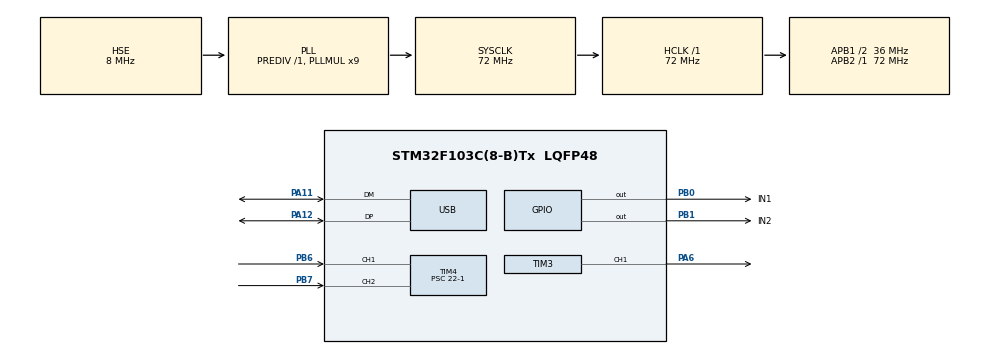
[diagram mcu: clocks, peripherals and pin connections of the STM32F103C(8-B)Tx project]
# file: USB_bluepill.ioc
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Mcu.Family=STM32F1
Mcu.Name=STM32F103C(8-B)Tx
Mcu.Package=LQFP48
NVIC.PriorityGroup=NVIC_PRIORITYGROUP_4
NVIC.TIM1_UP_IRQn=true\:0\:0\:false\:false\:true\:true\:true\:true
NVIC.TIM3_IRQn=true\:0\:0\:false\:false\:true\:true\:true\:true
NVIC.TIM4_IRQn=true\:0\:0\:false\:false\:true\:true\:true\:true
NVIC.USB_LP_CAN1_RX0_IRQn=true\:0\:0\:false\:false\:true\:false\:true\:true
PA11.Mode=Device
PA11.Signal=USB_DM
PA12.Mode=Device
PA12.Signal=USB_DP
PA13.Mode=Serial_Wire
PA13.Signal=SYS_JTMS-SWDIO
PA14.Mode=Serial_Wire
PA14.Signal=SYS_JTCK-SWCLK
PA6.Signal=S_TIM3_CH1
PB0.GPIO_Label=IN1
PB0.Signal=GPIO_Output
PB1.GPIO_Label=IN2
PB1.Signal=GPIO_Output
PB6.Signal=S_TIM4_CH1
PB7.Signal=S_TIM4_CH2
PD0-OSC_IN.Mode=HSE-External-Oscillator
PD0-OSC_IN.Signal=RCC_OSC_IN
PD1-OSC_OUT.Mode=HSE-External-Oscillator
PD1-OSC_OUT.Signal=RCC_OSC_OUT
ProjectManager.HeapSize=0x200
ProjectManager.StackSize=0x400
ProjectManager.TargetToolchain=STM32CubeIDE
RCC.ADCPresc=RCC_ADCPCLK2_DIV6
RCC.AHBFreq_Value=72000000
RCC.APB1CLKDivider=RCC_HCLK_DIV2
RCC.APB1Freq_Value=36000000
RCC.APB1TimFreq_Value=72000000
RCC.APB2Freq_Value=72000000
RCC.APB2TimFreq_Value=72000000
RCC.HCLKFreq_Value=72000000
RCC.PLLMUL=RCC_PLL_MUL9
RCC.PLLSourceVirtual=RCC_PLLSOURCE_HSE
RCC.SYSCLKFreq_VALUE=72000000
RCC.SYSCLKSource=RCC_SYSCLKSOURCE_PLLCLK
RCC.USBFreq_Value=48000000
RCC.USBPrescaler=RCC_USBCLKSOURCE_PLL_DIV1_5
SH.S_TIM3_CH1.0=TIM3_CH1,PWM Generation1 CH1
SH.S_TIM4_CH1.0=TIM4_CH1,Encoder_Interface
SH.S_TIM4_CH2.0=TIM4_CH2,Encoder_Interface
TIM1.Channel-Output\ Compare1\ No\ Output=TIM_CHANNEL_1
TIM1.Period=3600-1
TIM1.Prescaler=100-1
TIM3.Channel-PWM\ Generation1\ CH1=TIM_CHANNEL_1
TIM3.Period=1000-1
TIM3.Prescaler=6-1
TIM4.EncoderMode=TIM_ENCODERMODE_TI12
TIM4.Period=500-1
TIM4.Prescaler=22-1
USB_DEVICE.CLASS_NAME_FS=CDC
USB_DEVICE.VirtualMode=Cdc
USB_DEVICE.VirtualModeFS=Cdc_FS
VP_TIM1_VS_no_output1.Mode=Output Compare1 No Output
VP_USB_DEVICE_VS_USB_DEVICE_CDC_FS.Mode=CDC_FS
board=custom

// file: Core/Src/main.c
/* USER CODE BEGIN Header */
/**
 ******************************************************************************
 * @file           : main.c
 * @brief          : Main program body
 ******************************************************************************
 * @attention
 *
 * Copyright (c) 2023 STMicroelectronics.
 * All rights reserved.
 *
 * This software is licensed under terms that can be found in the LICENSE file
 * in the root directory of this software component.
 * If no LICENSE file comes with this software, it is provided AS-IS.
 *
 ******************************************************************************
 */
/* USER CODE END Header */
#include "main.h"
#include "tim.h"
#include "usb_device.h"
#include "gpio.h"

/* USER CODE BEGIN Includes */
#include "usbd_cdc_if.h"
#include "Encoder.h"
#include "pid_controller.h"
/* USER CODE END Includes */

/* USER CODE BEGIN PV */
Encoder Enc1;
volatile PIDCONTROLLER P_angle;
volatile PIDCONTROLLER PI_velocity;

float deltt;
float setpoint;
volatile uint16_t countvar = 0;

volatile uint16_t counter_tx = 0;

extern volatile int16_t receive;

extern float message;
/* USER CODE END PV */

void SystemClock_Config(void);

int main(void) {

	/* MCU Configuration--------------------------------------------------------*/

	/* Reset of all peripherals, Initializes the Flash interface and the Systick. */
	HAL_Init();

	/* Configure the system clock */
	SystemClock_Config();

	/* Initialize all configured peripherals */
	MX_GPIO_Init();
	MX_USB_DEVICE_Init();
	MX_TIM1_Init();
	MX_TIM3_Init();
	MX_TIM4_Init();
	/* USER CODE BEGIN 2 */
	HAL_TIM_Base_Start_IT(&htim1);

	__HAL_TIM_CLEAR_IT(&htim4, TIM_IT_UPDATE);
	HAL_TIM_Encoder_Start_IT(&htim4, TIM_CHANNEL_ALL);

	HAL_TIM_PWM_Start(&htim3, TIM_CHANNEL_1);
	HAL_TIM_Base_Start_IT(&htim3);
	deltt = 0.0005; // 2000 Гц частота расчетов и TIM3

	encoder_init(&Enc1, 500, 22, 22, 10, &htim4);
	pid_init(&P_angle, 330, 0, 0, 9000, -9000, deltt); // 500
	pid_init(&PI_velocity, 0.12, 1, 0, 998, -998, deltt); // 0.16 0.83

	setpoint = 0;
	/* USER CODE END 2 */

	/* Infinite loop */
	/* USER CODE BEGIN WHILE */
	while (1) {
		setpoint = receive;
		P_angle.feedback = Enc1.angle_shaft + Enc1.turns * 360;

		P_angle.setpoint = setpoint;
		PI_velocity.setpoint = P_angle.Out;
		//	PI_velocity.setpoint = setpoint;
		PI_velocity.feedback = Enc1.motor_rot_velocity;
		if (PI_velocity.Out > 0) {
			HAL_GPIO_WritePin(IN1_GPIO_Port, IN1_Pin, 1);
			HAL_GPIO_WritePin(IN2_GPIO_Port, IN2_Pin, 0);
			TIM3->CCR1 = PI_velocity.Out;
		} else {
			HAL_GPIO_WritePin(IN1_GPIO_Port, IN1_Pin, 0);
			HAL_GPIO_WritePin(IN2_GPIO_Port, IN2_Pin, 1);
			TIM3->CCR1 = -PI_velocity.Out;
		}
		/* USER CODE END WHILE */

	}
}

void SystemClock_Config(void) {
	RCC_OscInitTypeDef RCC_OscInitStruct = { 0 };
	RCC_ClkInitTypeDef RCC_ClkInitStruct = { 0 };
	RCC_PeriphCLKInitTypeDef PeriphClkInit = { 0 };

	/** Initializes the RCC Oscillators according to the specified parameters
	 * in the RCC_OscInitTypeDef structure.
	 */
	RCC_OscInitStruct.OscillatorType = RCC_OSCILLATORTYPE_HSE;
	RCC_OscInitStruct.HSEState = RCC_HSE_ON;
	RCC_OscInitStruct.HSEPredivValue = RCC_HSE_PREDIV_DIV1;
	RCC_OscInitStruct.HSIState = RCC_HSI_ON;
	RCC_OscInitStruct.PLL.PLLState = RCC_PLL_ON;
	RCC_OscInitStruct.PLL.PLLSource = RCC_PLLSOURCE_HSE;
	RCC_OscInitStruct.PLL.PLLMUL = RCC_PLL_MUL9;
	if (HAL_RCC_OscConfig(&RCC_OscInitStruct) != HAL_OK) {
		Error_Handler();
	}

	/** Initializes the CPU, AHB and APB buses clocks
	 */
	RCC_ClkInitStruct.ClockType = RCC_CLOCKTYPE_HCLK | RCC_CLOCKTYPE_SYSCLK
			| RCC_CLOCKTYPE_PCLK1 | RCC_CLOCKTYPE_PCLK2;
	RCC_ClkInitStruct.SYSCLKSource = RCC_SYSCLKSOURCE_PLLCLK;
	RCC_ClkInitStruct.AHBCLKDivider = RCC_SYSCLK_DIV1;
	RCC_ClkInitStruct.APB1CLKDivider = RCC_HCLK_DIV2;
	RCC_ClkInitStruct.APB2CLKDivider = RCC_HCLK_DIV1;

	if (HAL_RCC_ClockConfig(&RCC_ClkInitStruct, FLASH_LATENCY_2) != HAL_OK) {
		Error_Handler();
	}
	PeriphClkInit.PeriphClockSelection = RCC_PERIPHCLK_USB;
	PeriphClkInit.UsbClockSelection = RCC_USBCLKSOURCE_PLL_DIV1_5;
	if (HAL_RCCEx_PeriphCLKConfig(&PeriphClkInit) != HAL_OK) {
		Error_Handler();
	}
}

void Error_Handler(void) {
	__disable_irq();
	while (1) {
	}
}
